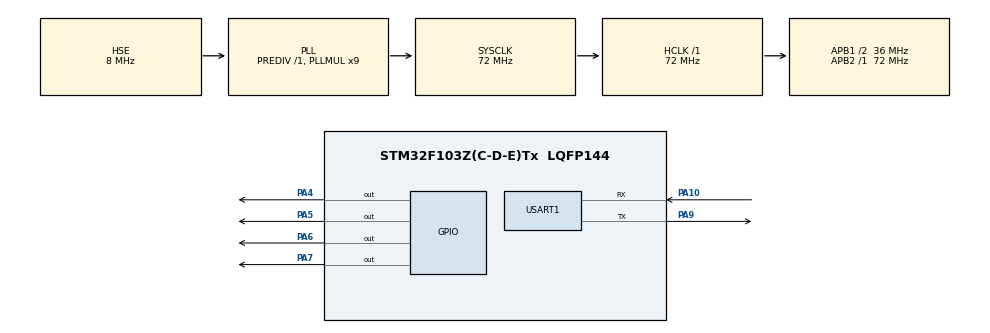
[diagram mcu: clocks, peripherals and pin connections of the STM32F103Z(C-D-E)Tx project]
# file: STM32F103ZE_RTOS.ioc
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Dma.Request0=USART1_RX
Dma.Request1=USART1_TX
Dma.USART1_RX.0.Direction=DMA_PERIPH_TO_MEMORY
Dma.USART1_RX.0.Instance=DMA1_Channel5
Dma.USART1_RX.0.MemDataAlignment=DMA_MDATAALIGN_BYTE
Dma.USART1_RX.0.MemInc=DMA_MINC_ENABLE
Dma.USART1_RX.0.Mode=DMA_NORMAL
Dma.USART1_RX.0.PeriphDataAlignment=DMA_PDATAALIGN_BYTE
Dma.USART1_RX.0.PeriphInc=DMA_PINC_DISABLE
Dma.USART1_RX.0.Priority=DMA_PRIORITY_LOW
Dma.USART1_TX.1.Direction=DMA_MEMORY_TO_PERIPH
Dma.USART1_TX.1.Instance=DMA1_Channel4
Dma.USART1_TX.1.MemDataAlignment=DMA_MDATAALIGN_BYTE
Dma.USART1_TX.1.MemInc=DMA_MINC_ENABLE
Dma.USART1_TX.1.Mode=DMA_NORMAL
Dma.USART1_TX.1.PeriphDataAlignment=DMA_PDATAALIGN_BYTE
Dma.USART1_TX.1.PeriphInc=DMA_PINC_DISABLE
Dma.USART1_TX.1.Priority=DMA_PRIORITY_LOW
FREERTOS.Tasks01=defaultTask,24,128,StartDefaultTask,Default,NULL,Dynamic,NULL,NULL;Task02,8,128,StartTask02,Default,NULL,Dynamic,NULL,NULL
FREERTOS.configTOTAL_HEAP_SIZE=8192
FREERTOS.configUSE_NEWLIB_REENTRANT=1
Mcu.Family=STM32F1
Mcu.Name=STM32F103Z(C-D-E)Tx
Mcu.Package=LQFP144
NVIC.DMA1_Channel4_IRQn=true\:5\:0\:false\:false\:true\:true\:false\:true\:true
NVIC.DMA1_Channel5_IRQn=true\:5\:0\:false\:false\:true\:true\:false\:true\:true
NVIC.PriorityGroup=NVIC_PRIORITYGROUP_4
NVIC.TIM1_UP_IRQn=true\:15\:0\:false\:false\:true\:false\:false\:true\:true
NVIC.TimeBase=TIM1_UP_IRQn
NVIC.TimeBaseIP=TIM1
NVIC.USART1_IRQn=true\:5\:0\:false\:false\:true\:true\:true\:true\:true
OSC_IN.Mode=HSE-External-Oscillator
OSC_IN.Signal=RCC_OSC_IN
OSC_OUT.Mode=HSE-External-Oscillator
OSC_OUT.Signal=RCC_OSC_OUT
PA10.Mode=Asynchronous
PA10.Signal=USART1_RX
PA4.Signal=GPIO_Output
PA5.Signal=GPIO_Output
PA6.Signal=GPIO_Output
PA7.Signal=GPIO_Output
PA9.Mode=Asynchronous
PA9.Signal=USART1_TX
PC14-OSC32_IN.Mode=LSE-External-Oscillator
PC14-OSC32_IN.Signal=RCC_OSC32_IN
PC15-OSC32_OUT.Mode=LSE-External-Oscillator
PC15-OSC32_OUT.Signal=RCC_OSC32_OUT
ProjectManager.HeapSize=0x200
ProjectManager.StackSize=0x400
ProjectManager.TargetToolchain=STM32CubeIDE
RCC.AHBFreq_Value=72000000
RCC.APB1CLKDivider=RCC_HCLK_DIV2
RCC.APB1Freq_Value=36000000
RCC.APB1TimFreq_Value=72000000
RCC.APB2Freq_Value=72000000
RCC.APB2TimFreq_Value=72000000
RCC.HCLKFreq_Value=72000000
RCC.PLLMUL=RCC_PLL_MUL9
RCC.PLLSourceVirtual=RCC_PLLSOURCE_HSE
RCC.RTCClockSelection=RCC_RTCCLKSOURCE_LSE
RCC.SYSCLKFreq_VALUE=72000000
RCC.SYSCLKSource=RCC_SYSCLKSOURCE_PLLCLK
RCC.USBFreq_Value=72000000
USART1.VirtualMode=VM_ASYNC
VP_FREERTOS_VS_CMSIS_V2.Mode=CMSIS_V2
VP_RTC_VS_RTC_Activate.Mode=RTC_Enabled
VP_SYS_VS_tim1.Mode=TIM1
board=custom

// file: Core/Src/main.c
/* USER CODE BEGIN Header */
/**
  ******************************************************************************
  * @file           : main.c
  * @brief          : Main program body
  ******************************************************************************
  * @attention
  *
  * Copyright (c) 2023 STMicroelectronics.
  * All rights reserved.
  *
  * This software is licensed under terms that can be found in the LICENSE file
  * in the root directory of this software component.
  * If no LICENSE file comes with this software, it is provided AS-IS.
  *
  ******************************************************************************
  */
/* USER CODE END Header */
#include "main.h"
#include "cmsis_os.h"

/* USER CODE BEGIN Includes */
#include "dma_printf.h"
#include "dma_scanf.h"
#include "log.h"
#include <stdio.h>
/* USER CODE END Includes */

RTC_HandleTypeDef hrtc;

UART_HandleTypeDef huart1;
DMA_HandleTypeDef hdma_usart1_rx;
DMA_HandleTypeDef hdma_usart1_tx;

/* Definitions for defaultTask */
osThreadId_t defaultTaskHandle;
const osThreadAttr_t defaultTask_attributes = {
  .name = "defaultTask",
  .stack_size = 128 * 4,
  .priority = (osPriority_t) osPriorityNormal,
};
/* Definitions for Task02 */
osThreadId_t Task02Handle;
const osThreadAttr_t Task02_attributes = {
  .name = "Task02",
  .stack_size = 128 * 4,
  .priority = (osPriority_t) osPriorityLow,
};

void SystemClock_Config(void);
static void MX_GPIO_Init(void);
static void MX_DMA_Init(void);
static void MX_RTC_Init(void);
static void MX_USART1_UART_Init(void);
void StartDefaultTask(void *argument);
void StartTask02(void *argument);

/* USER CODE BEGIN 0 */
int __io_putchar(int ch)
{
  dma_printf_putc(ch&0xFF);
  return ch;
}

int __io_getchar(void)
{
  return dma_scanf_getc_blocking();
}

void HAL_UART_RxCpltCallback(UART_HandleTypeDef *huart){

}

void HAL_UART_TxCpltCallback(UART_HandleTypeDef *huart){
  dma_printf_send_it(huart);
}
/* USER CODE END 0 */

int main(void)
{

  /* MCU Configuration--------------------------------------------------------*/

  /* Reset of all peripherals, Initializes the Flash interface and the Systick. */
  HAL_Init();

  /* Configure the system clock */
  SystemClock_Config();

  /* Initialize all configured peripherals */
  MX_GPIO_Init();
  MX_DMA_Init();
  MX_RTC_Init();
  MX_USART1_UART_Init();
  /* USER CODE BEGIN 2 */
  setbuf(stdin, NULL);
  setbuf(stdout, NULL);
  setbuf(stderr, NULL);
  dma_printf_init(&huart1);
  dma_scanf_init(&huart1);
  /* USER CODE END 2 */

  /* Init scheduler */
  osKernelInitialize();

  /* Create the thread(s) */
  /* creation of defaultTask */
  defaultTaskHandle = osThreadNew(StartDefaultTask, NULL, &defaultTask_attributes);

  /* creation of Task02 */
  Task02Handle = osThreadNew(StartTask02, NULL, &Task02_attributes);

  /* Start scheduler */
  osKernelStart();

  /* We should never get here as control is now taken by the scheduler */
  /* Infinite loop */
  while (1)
  {

  }
}

void SystemClock_Config(void)
{
  RCC_OscInitTypeDef RCC_OscInitStruct = {0};
  RCC_ClkInitTypeDef RCC_ClkInitStruct = {0};
  RCC_PeriphCLKInitTypeDef PeriphClkInit = {0};

  /** Initializes the RCC Oscillators according to the specified parameters
  * in the RCC_OscInitTypeDef structure.
  */
  RCC_OscInitStruct.OscillatorType = RCC_OSCILLATORTYPE_HSE|RCC_OSCILLATORTYPE_LSE;
  RCC_OscInitStruct.HSEState = RCC_HSE_ON;
  RCC_OscInitStruct.HSEPredivValue = RCC_HSE_PREDIV_DIV1;
  RCC_OscInitStruct.LSEState = RCC_LSE_ON;
  RCC_OscInitStruct.HSIState = RCC_HSI_ON;
  RCC_OscInitStruct.PLL.PLLState = RCC_PLL_ON;
  RCC_OscInitStruct.PLL.PLLSource = RCC_PLLSOURCE_HSE;
  RCC_OscInitStruct.PLL.PLLMUL = RCC_PLL_MUL9;
  if (HAL_RCC_OscConfig(&RCC_OscInitStruct) != HAL_OK)
  {
    Error_Handler();
  }

  /** Initializes the CPU, AHB and APB buses clocks
  */
  RCC_ClkInitStruct.ClockType = RCC_CLOCKTYPE_HCLK|RCC_CLOCKTYPE_SYSCLK
                              |RCC_CLOCKTYPE_PCLK1|RCC_CLOCKTYPE_PCLK2;
  RCC_ClkInitStruct.SYSCLKSource = RCC_SYSCLKSOURCE_PLLCLK;
  RCC_ClkInitStruct.AHBCLKDivider = RCC_SYSCLK_DIV1;
  RCC_ClkInitStruct.APB1CLKDivider = RCC_HCLK_DIV2;
  RCC_ClkInitStruct.APB2CLKDivider = RCC_HCLK_DIV1;

  if (HAL_RCC_ClockConfig(&RCC_ClkInitStruct, FLASH_LATENCY_2) != HAL_OK)
  {
    Error_Handler();
  }
  PeriphClkInit.PeriphClockSelection = RCC_PERIPHCLK_RTC;
  PeriphClkInit.RTCClockSelection = RCC_RTCCLKSOURCE_LSE;
  if (HAL_RCCEx_PeriphCLKConfig(&PeriphClkInit) != HAL_OK)
  {
    Error_Handler();
  }
}

static void MX_RTC_Init(void)
{

  /** Initialize RTC Only
  */
  hrtc.Instance = RTC;
  hrtc.Init.AsynchPrediv = RTC_AUTO_1_SECOND;
  hrtc.Init.OutPut = RTC_OUTPUTSOURCE_ALARM;
  if (HAL_RTC_Init(&hrtc) != HAL_OK)
  {
    Error_Handler();
  }

}

static void MX_USART1_UART_Init(void)
{

  huart1.Instance = USART1;
  huart1.Init.BaudRate = 115200;
  huart1.Init.WordLength = UART_WORDLENGTH_8B;
  huart1.Init.StopBits = UART_STOPBITS_1;
  huart1.Init.Parity = UART_PARITY_NONE;
  huart1.Init.Mode = UART_MODE_TX_RX;
  huart1.Init.HwFlowCtl = UART_HWCONTROL_NONE;
  huart1.Init.OverSampling = UART_OVERSAMPLING_16;
  if (HAL_UART_Init(&huart1) != HAL_OK)
  {
    Error_Handler();
  }

}

static void MX_DMA_Init(void)
{

  /* DMA controller clock enable */
  __HAL_RCC_DMA1_CLK_ENABLE();

  /* DMA interrupt init */
  /* DMA1_Channel4_IRQn interrupt configuration */
  HAL_NVIC_SetPriority(DMA1_Channel4_IRQn, 5, 0);
  HAL_NVIC_EnableIRQ(DMA1_Channel4_IRQn);
  /* DMA1_Channel5_IRQn interrupt configuration */
  HAL_NVIC_SetPriority(DMA1_Channel5_IRQn, 5, 0);
  HAL_NVIC_EnableIRQ(DMA1_Channel5_IRQn);

}

static void MX_GPIO_Init(void)
{
  GPIO_InitTypeDef GPIO_InitStruct = {0};

  /* GPIO Ports Clock Enable */
  __HAL_RCC_GPIOC_CLK_ENABLE();
  __HAL_RCC_GPIOA_CLK_ENABLE();

  /*Configure GPIO pin Output Level */
  HAL_GPIO_WritePin(GPIOA, GPIO_PIN_4|GPIO_PIN_5|GPIO_PIN_6|GPIO_PIN_7, GPIO_PIN_RESET);

  /*Configure GPIO pins : PA4 PA5 PA6 PA7 */
  GPIO_InitStruct.Pin = GPIO_PIN_4|GPIO_PIN_5|GPIO_PIN_6|GPIO_PIN_7;
  GPIO_InitStruct.Mode = GPIO_MODE_OUTPUT_PP;
  GPIO_InitStruct.Pull = GPIO_NOPULL;
  GPIO_InitStruct.Speed = GPIO_SPEED_FREQ_LOW;
  HAL_GPIO_Init(GPIOA, &GPIO_InitStruct);

}

void StartDefaultTask(void *argument)
{
  for(;;)
  {
    osDelay(1);
  }
}

void StartTask02(void *argument)
{
  /* USER CODE BEGIN StartTask02 */
  uint32_t c = 0;
  /* Infinite loop */
  for(;;)
  {
	HAL_GPIO_TogglePin(GPIOA, GPIO_PIN_4);
	log_info("RESULT:%8ld\r", c++);
    osDelay(100);
  }
  /* USER CODE END StartTask02 */
}

void HAL_TIM_PeriodElapsedCallback(TIM_HandleTypeDef *htim)
{
  if (htim->Instance == TIM1) {
    HAL_IncTick();
  }
}

void Error_Handler(void)
{
  __disable_irq();
  while (1)
  {
  }
}
